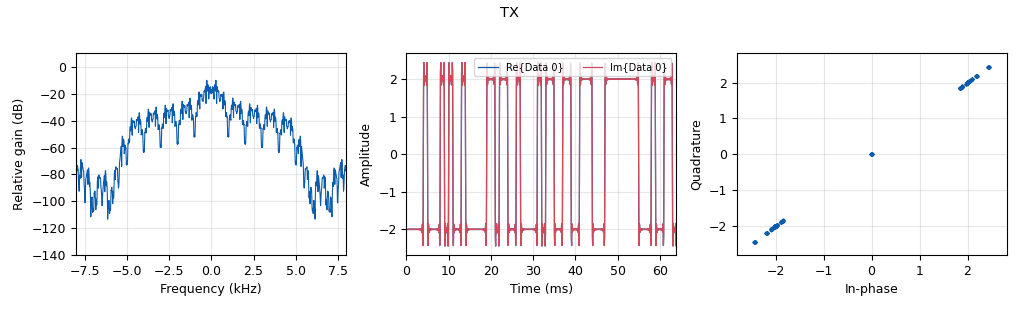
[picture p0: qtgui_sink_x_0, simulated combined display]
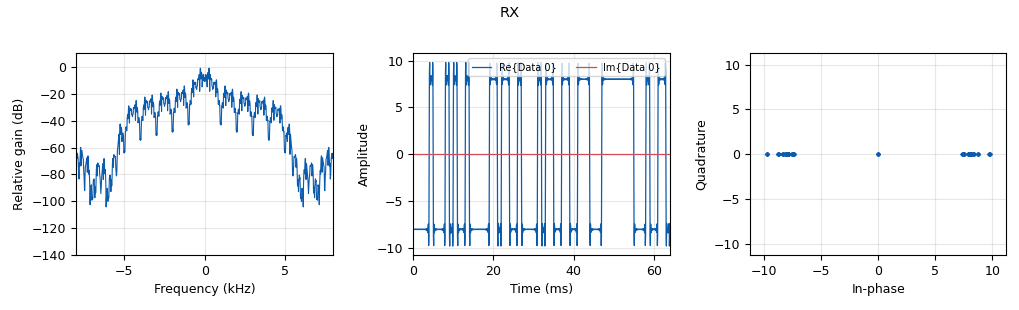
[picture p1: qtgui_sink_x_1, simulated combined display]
options:
  parameters:
    author: ravik
    generate_options: qt_gui
    id: MISO
    output_language: python
    title: Not titled yet
  states: {}

blocks:
- name: BPSK
  id: variable_constellation
  parameters:
    precision: '8'
    type: bpsk
  states: {}
- name: samp_rate
  id: variable
  parameters:
    value: '16000'
  states: {}
- name: analog_const_source_x_0
  id: analog_const_source_x
  parameters:
    const: '0'
    type: float
  states: {}
- name: analog_const_source_x_0_0
  id: analog_const_source_x
  parameters:
    const: '0'
    type: float
  states: {state: disabled}
- name: analog_random_source_x_0
  id: analog_random_source_x
  parameters:
    max: '2'
    min: '0'
    num_samps: '1000'
    repeat: 'True'
    type: byte
  states: {}
- name: analog_random_source_x_0_0
  id: analog_random_source_x
  parameters:
    max: '2'
    min: '0'
    num_samps: '1000'
    repeat: 'True'
    type: byte
  states: {state: disabled}
- name: blocks_add_xx_0
  id: blocks_add_xx
  parameters:
    type: complex
  states: {}
- name: blocks_add_xx_0_0
  id: blocks_add_xx
  parameters:
    type: complex
  states: {state: disabled}
- name: blocks_float_to_complex_0
  id: blocks_float_to_complex
  parameters: {}
  states: {}
- name: blocks_float_to_complex_0_0
  id: blocks_float_to_complex
  parameters: {}
  states: {state: disabled}
- name: blocks_message_debug_0
  id: blocks_message_debug
  parameters: {}
  states: {}
- name: blocks_message_debug_0_0
  id: blocks_message_debug
  parameters: {}
  states: {state: disabled}
- name: blocks_throttle_0
  id: blocks_throttle
  parameters:
    samples_per_second: samp_rate
    type: complex
  states: {}
- name: blocks_throttle_0_0
  id: blocks_throttle
  parameters:
    samples_per_second: samp_rate
    type: complex
  states: {}
- name: blocks_throttle_0_0_0
  id: blocks_throttle
  parameters:
    samples_per_second: samp_rate
    type: complex
  states: {state: disabled}
- name: blocks_throttle_0_0_0_0
  id: blocks_throttle
  parameters:
    samples_per_second: samp_rate
    type: complex
  states: {state: disabled}
- name: blocks_throttle_0_0_1
  id: blocks_throttle
  parameters:
    samples_per_second: samp_rate
    type: complex
  states: {state: disabled}
- name: blocks_throttle_0_1
  id: blocks_throttle
  parameters:
    samples_per_second: samp_rate
    type: complex
  states: {state: disabled}
- name: blocks_throttle_0_1_0
  id: blocks_throttle
  parameters:
    samples_per_second: samp_rate
    type: complex
  states: {state: disabled}
- name: blocks_throttle_0_2
  id: blocks_throttle
  parameters:
    samples_per_second: samp_rate
    type: complex
  states: {state: disabled}
- name: channels_channel_model_0
  id: channels_channel_model
  parameters:
    epsilon: '1.0'
    freq_offset: '0.0'
    noise_voltage: '0.0'
    seed: '0'
    taps: 1.0 + 1.0j
  states: {}
- name: channels_fading_model_0
  id: channels_fading_model
  parameters:
    LOS: 'False'
    N: '8'
    fDTs: 0.0/samp_rate
    seed: '0'
  states: {state: disabled}
- name: channels_fading_model_0_0
  id: channels_fading_model
  parameters:
    LOS: 'False'
    N: '8'
    fDTs: 0.0/samp_rate
    seed: '0'
  states: {state: disabled}
- name: digital_constellation_modulator_0
  id: digital_constellation_modulator
  parameters:
    constellation: BPSK
    differential: 'True'
    excess_bw: '0.35'
    samples_per_symbol: '2'
  states: {}
- name: digital_constellation_modulator_0_0
  id: digital_constellation_modulator
  parameters:
    constellation: BPSK
    differential: 'True'
    excess_bw: '0.35'
    samples_per_symbol: '2'
  states: {state: disabled}
- name: digital_constellation_modulator_0_0_0
  id: digital_constellation_modulator
  parameters:
    constellation: BPSK
    differential: 'True'
    excess_bw: '0.35'
    samples_per_symbol: '2'
  states: {state: disabled}
- name: digital_constellation_modulator_0_1
  id: digital_constellation_modulator
  parameters:
    constellation: variable_constellation_0
    differential: 'True'
    excess_bw: '0.35'
    samples_per_symbol: '2'
  states: {state: disabled}
- name: digital_constellation_modulator_1
  id: digital_constellation_modulator
  parameters:
    constellation: BPSK
    differential: 'True'
    excess_bw: '0.35'
    samples_per_symbol: '2'
  states: {}
- name: digital_constellation_modulator_1_0
  id: digital_constellation_modulator
  parameters:
    constellation: BPSK
    differential: 'True'
    excess_bw: '0.35'
    samples_per_symbol: '2'
  states: {state: disabled}
- name: digital_constellation_modulator_1_0_0
  id: digital_constellation_modulator
  parameters:
    constellation: BPSK
    differential: 'True'
    excess_bw: '0.35'
    samples_per_symbol: '2'
  states: {state: disabled}
- name: digital_constellation_modulator_1_1
  id: digital_constellation_modulator
  parameters:
    constellation: variable_constellation_1
    differential: 'True'
    excess_bw: '0.35'
    samples_per_symbol: '2'
  states: {state: disabled}
- name: digital_constellation_soft_decoder_cf_0
  id: digital_constellation_soft_decoder_cf
  parameters:
    constellation: BPSK
  states: {}
- name: digital_constellation_soft_decoder_cf_0_0
  id: digital_constellation_soft_decoder_cf
  parameters:
    constellation: variable_constellation_0
  states: {state: disabled}
- name: digital_probe_mpsk_snr_est_c_0
  id: digital_probe_mpsk_snr_est_c
  parameters:
    alpha: '0.001'
    msg_nsamples: '10000'
    type: '0'
  states: {}
- name: digital_probe_mpsk_snr_est_c_0_0
  id: digital_probe_mpsk_snr_est_c
  parameters:
    alpha: '0.001'
    msg_nsamples: '10000'
    type: '0'
  states: {state: disabled}
- name: qtgui_sink_x_0
  id: qtgui_sink_x
  parameters:
    bw: samp_rate
    fc: '0'
    fftsize: '1024'
    name: '"TX"'
    type: complex
  states: {}
- name: qtgui_sink_x_0_0
  id: qtgui_sink_x
  parameters:
    bw: samp_rate
    fc: '0'
    fftsize: '1024'
    name: '"TX"'
    type: complex
  states: {state: disabled}
- name: qtgui_sink_x_1
  id: qtgui_sink_x
  parameters:
    bw: samp_rate
    fc: '0'
    fftsize: '1024'
    name: '"RX"'
    type: complex
  states: {}
- name: qtgui_sink_x_1_0
  id: qtgui_sink_x
  parameters:
    bw: samp_rate
    fc: '0'
    fftsize: '1024'
    name: '"RX"'
    type: complex
  states: {state: disabled}
- name: virtual_sink_0
  id: virtual_sink
  parameters:
    stream_id: TO RX
  states: {}
- name: virtual_sink_0_0
  id: virtual_sink
  parameters:
    stream_id: TO RX
  states: {state: disabled}
- name: virtual_source_0
  id: virtual_source
  parameters:
    stream_id: TO RX
  states: {}
- name: virtual_source_0_0
  id: virtual_source
  parameters:
    stream_id: TO RX
  states: {state: disabled}

connections:
- [analog_const_source_x_0, '0', blocks_float_to_complex_0, '1']
- [analog_const_source_x_0_0, '0', blocks_float_to_complex_0_0, '1']
- [analog_random_source_x_0, '0', digital_constellation_modulator_0, '0']
- [analog_random_source_x_0, '0', digital_constellation_modulator_0_0, '0']
- [analog_random_source_x_0, '0', digital_constellation_modulator_0_0_0, '0']
- [analog_random_source_x_0, '0', digital_constellation_modulator_1, '0']
- [analog_random_source_x_0, '0', digital_constellation_modulator_1_0, '0']
- [analog_random_source_x_0, '0', digital_constellation_modulator_1_0_0, '0']
- [analog_random_source_x_0_0, '0', digital_constellation_modulator_0_1, '0']
- [analog_random_source_x_0_0, '0', digital_constellation_modulator_1_1, '0']
- [blocks_add_xx_0, '0', channels_channel_model_0, '0']
- [blocks_add_xx_0, '0', channels_fading_model_0, '0']
- [blocks_add_xx_0_0, '0', channels_fading_model_0_0, '0']
- [blocks_float_to_complex_0, '0', digital_probe_mpsk_snr_est_c_0, '0']
- [blocks_float_to_complex_0, '0', qtgui_sink_x_1, '0']
- [blocks_float_to_complex_0_0, '0', digital_probe_mpsk_snr_est_c_0_0, '0']
- [blocks_float_to_complex_0_0, '0', qtgui_sink_x_1_0, '0']
- [blocks_throttle_0, '0', blocks_add_xx_0, '0']
- [blocks_throttle_0_0, '0', blocks_add_xx_0, '1']
- [blocks_throttle_0_0_1, '0', blocks_add_xx_0_0, '1']
- [blocks_throttle_0_2, '0', blocks_add_xx_0_0, '0']
- [channels_channel_model_0, '0', qtgui_sink_x_0, '0']
- [channels_channel_model_0, '0', virtual_sink_0, '0']
- [channels_fading_model_0, '0', qtgui_sink_x_0, '0']
- [channels_fading_model_0, '0', virtual_sink_0, '0']
- [channels_fading_model_0_0, '0', qtgui_sink_x_0_0, '0']
- [channels_fading_model_0_0, '0', virtual_sink_0_0, '0']
- [digital_constellation_modulator_0, '0', blocks_throttle_0, '0']
- [digital_constellation_modulator_0_0, '0', blocks_throttle_0_1, '0']
- [digital_constellation_modulator_0_0_0, '0', blocks_throttle_0_1_0, '0']
- [digital_constellation_modulator_0_1, '0', blocks_throttle_0_2, '0']
- [digital_constellation_modulator_1, '0', blocks_throttle_0_0, '0']
- [digital_constellation_modulator_1_0, '0', blocks_throttle_0_0_0, '0']
- [digital_constellation_modulator_1_0_0, '0', blocks_throttle_0_0_0_0, '0']
- [digital_constellation_modulator_1_1, '0', blocks_throttle_0_0_1, '0']
- [digital_constellation_soft_decoder_cf_0, '0', blocks_float_to_complex_0, '0']
- [digital_constellation_soft_decoder_cf_0_0, '0', blocks_float_to_complex_0_0, '0']
- [digital_probe_mpsk_snr_est_c_0, signal, blocks_message_debug_0, store]
- [digital_probe_mpsk_snr_est_c_0, snr, blocks_message_debug_0, print]
- [digital_probe_mpsk_snr_est_c_0_0, signal, blocks_message_debug_0_0, store]
- [digital_probe_mpsk_snr_est_c_0_0, snr, blocks_message_debug_0_0, print]
- [virtual_source_0, '0', digital_constellation_soft_decoder_cf_0, '0']
- [virtual_source_0_0, '0', digital_constellation_soft_decoder_cf_0_0, '0']

metadata:
  file_format: 1
  grc_version: 3.10.5.1
